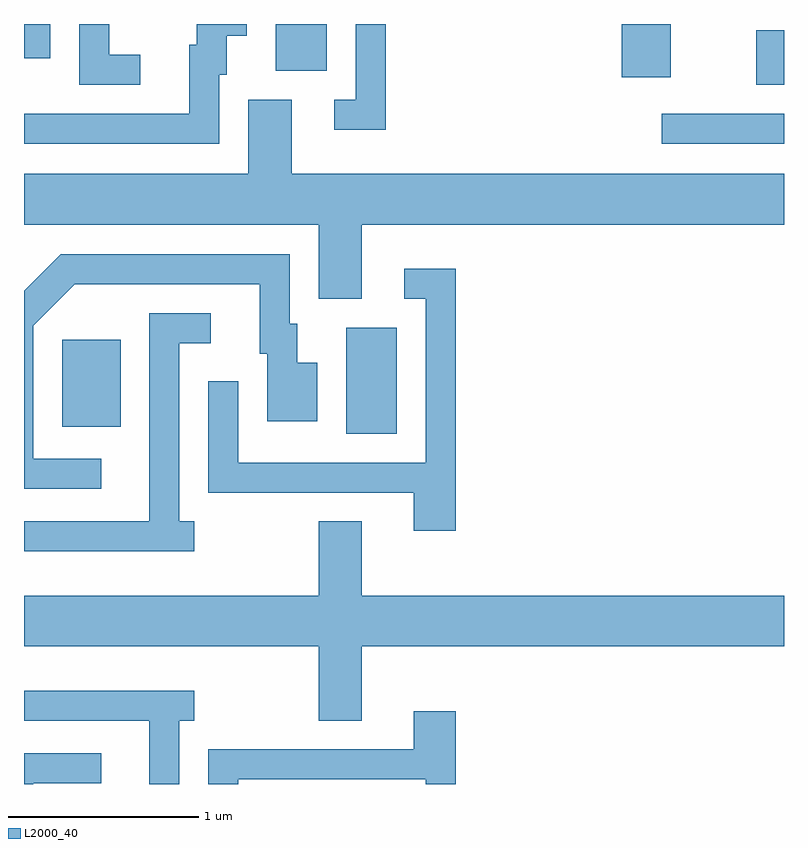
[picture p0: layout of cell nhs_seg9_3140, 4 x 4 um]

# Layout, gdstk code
import gdstk
lib = gdstk.Library(unit=1e-6, precision=1e-09)
def R(c, l, rs):  # rectangles x0, y0, x1, y1
    for r in rs: c.add(gdstk.rectangle(r[:2], r[2:], *l))
def P(c, l, *ps):  # polygons
    for p in ps: c.add(gdstk.Polygon(p, *l))
L2000_40 = (2000, 40)

nhs_seg9_3140 = lib.new_cell('nhs_seg9_3140')
R(nhs_seg9_3140, L2000_40, [(279.306,1986.276,279.574,1986.834), (277.811,1986.311,278.119,1986.769), (280.968,1987.801,281.611,1987.959), (281.466,1988.111,281.611,1988.399), (280.756,1988.151,281.014,1988.432), (278.936,1988.186,279.204,1988.432), (277.611,1988.251,277.749,1988.432)])
P(nhs_seg9_3140, L2000_40, [(279.514,1988.432),(279.356,1988.432),(279.356,1988.034),(279.243,1988.034),(279.243,1987.876),(279.514,1987.876)],
  [(278.223,1988.269),(278.059,1988.269),(278.059,1988.432),(277.901,1988.432),(277.901,1988.111),(278.223,1988.111)],
  [(278.639,1988.166),(278.679,1988.166),(278.679,1988.371),(278.784,1988.371),(278.784,1988.432),(278.521,1988.432),(278.521,1988.324),(278.481,1988.324),(278.481,1987.959),(277.611,1987.959),(277.611,1987.801),(278.639,1987.801)],
  [(279.389,1987.376),(281.611,1987.376),(281.611,1987.644),(279.019,1987.644),(279.019,1988.034),(278.791,1988.034),(278.791,1987.644),(277.611,1987.644),(277.611,1987.376),(279.161,1987.376),(279.161,1986.986),(279.389,1986.986)],
  [(278.018,1986.144),(277.659,1986.144),(277.659,1986.844),(277.877,1987.061),(278.851,1987.061),(278.851,1986.696),(278.891,1986.696),(278.891,1986.341),(279.154,1986.341),(279.154,1986.649),(279.049,1986.649),(279.049,1986.854),(279.009,1986.854),(279.009,1987.219),(277.804,1987.219),(277.611,1987.027),(277.611,1985.986),(278.018,1985.986)],
  [(279.884,1987.144),(279.613,1987.144),(279.613,1986.986),(279.726,1986.986),(279.726,1986.124),(278.739,1986.124),(278.739,1986.553),(278.581,1986.553),(278.581,1985.966),(279.661,1985.966),(279.661,1985.766),(279.884,1985.766)],
  [(278.508,1985.814),(278.429,1985.814),(278.429,1986.751),(278.593,1986.751),(278.593,1986.909),(278.271,1986.909),(278.271,1985.814),(277.611,1985.814),(277.611,1985.656),(278.508,1985.656)],
  [(279.389,1985.156),(281.611,1985.156),(281.611,1985.424),(279.389,1985.424),(279.389,1985.814),(279.161,1985.814),(279.161,1985.424),(277.611,1985.424),(277.611,1985.156),(279.161,1985.156),(279.161,1984.766),(279.389,1984.766)],
  [(278.429,1984.766),(278.508,1984.766),(278.508,1984.924),(277.611,1984.924),(277.611,1984.766),(278.271,1984.766),(278.271,1984.432),(278.429,1984.432)],
  [(278.739,1984.456),(279.726,1984.456),(279.726,1984.432),(279.884,1984.432),(279.884,1984.814),(279.661,1984.814),(279.661,1984.614),(278.581,1984.614),(278.581,1984.432),(278.739,1984.432)],
  [(277.659,1984.436),(278.018,1984.436),(278.018,1984.594),(277.611,1984.594),(277.611,1984.432),(277.659,1984.432)])

lib.write_gds('nhs_seg9_3140.gds')
